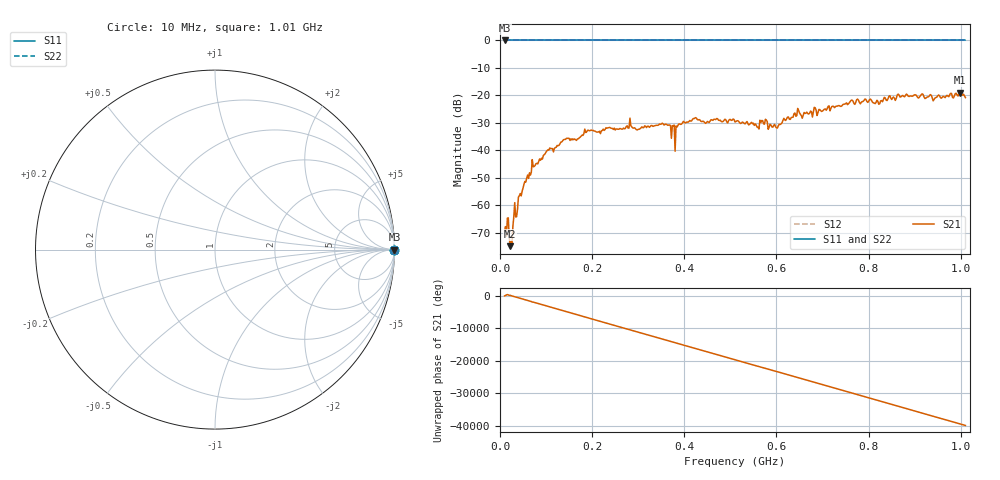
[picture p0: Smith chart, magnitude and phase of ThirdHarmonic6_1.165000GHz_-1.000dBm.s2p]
! 8/16/2025 11:43:59 AM
! C:\ANRITSUVNA\TEMP\TEMP.S2P
! CHANNEL.1
! TR.MEASUREMENT
! RAW.DATA
! RF.CORRECTION.OFF
! AVERAGING.OFF
! IF.BANDWIDTH: 5KHZ
! SWEEPTYPE:  FREQ.SWEEP(Linear)
! Reference Plane Port Info
! PORT:  PORT1  PORT2
! DISTANCE:  0  m  0  m
! TIME:  0  s  0  s
! PHASE.OFFSET:  0  deg.  0  deg.
! LOSS:  0  dB  0  dB
! REF.LOSS:  0  dB  0  dB
! REF.FREQ:  0  Hz  0  Hz
! Power Info
! POWER:  -20  dBm  -20  dBm
! EFF.POWER:  -20  dBm  -20  dBm
! SOURCE.ATTEN:  0  dB  0  dB
! TEST.ATTEN:  0  dB  0  dB
# GHZ S RI R 50.0
! FREQ.GHZ  S11RE  S11IM  S21RE  S21IM  S12RE  S12IM  S22RE  S22IM
!; PortSelection: Port_12
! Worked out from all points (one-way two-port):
!   501 points, 10 MHz to 1.01 GHz, reference 50 ohm
!   highest |S21| = -19.01 dB at 998 MHz (marker M1); lowest = -74.8 dB at 22 MHz (marker M2)
!   lowest |S11| = 0.0 dB at 10 MHz (marker M3)
!   |S11| at or under -10 dB: nowhere
!   |S22| runs from 0.0 to 0.0 dB; largest |S21 - S12| = 1.1
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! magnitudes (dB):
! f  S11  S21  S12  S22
! 10 MHz  0.0  -69.3  0.0  0.0
! 14 MHz  0.0  -71.1  0.0  0.0
! 22 MHz  0.0  -74.8  0.0  0.0
! 24 MHz  0.0  -73.1  0.0  0.0
! 32 MHz  0.0  -59.0  0.0  0.0
! 44 MHz  0.0  -55.6  0.0  0.0
! 74 MHz  0.0  -45.8  0.0  0.0
! 140 MHz  0.0  -36.0  0.0  0.0
! 178 MHz  0.0  -34.4  0.0  0.0
! 234 MHz  0.0  -31.8  0.0  0.0
! 344 MHz  0.0  -30.8  0.0  0.0
! 366 MHz  0.0  -30.8  0.0  0.0
! 376 MHz  0.0  -31.0  0.0  0.0
! 386 MHz  0.0  -31.0  0.0  0.0
! 422 MHz  0.0  -28.4  0.0  0.0
! 510 MHz  0.0  -29.6  0.0  0.0
! 602 MHz  0.0  -31.8  0.0  0.0
! 644 MHz  0.0  -27.4  0.0  0.0
! 678 MHz  0.0  -27.9  0.0  0.0
! 844 MHz  0.0  -20.3  0.0  0.0
! 998 MHz  0.0  -19.0  0.0  0.0
! 1.01 GHz  0.0  -20.8  0.0  0.0
